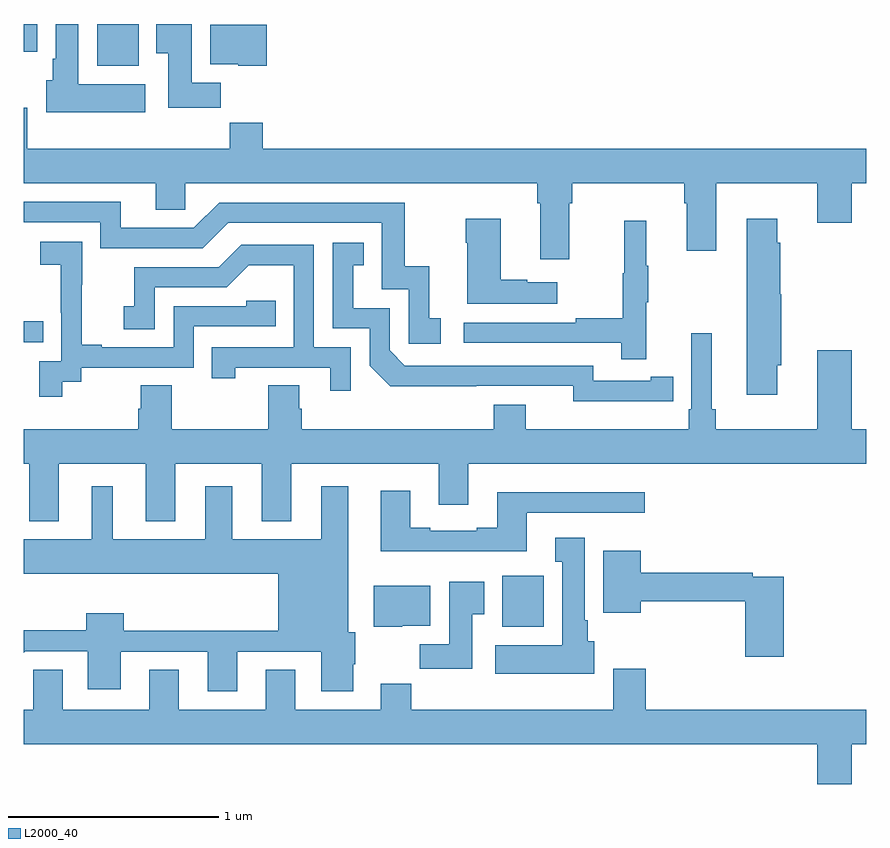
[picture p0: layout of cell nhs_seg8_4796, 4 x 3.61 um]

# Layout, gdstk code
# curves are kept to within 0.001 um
import gdstk
lib = gdstk.Library(unit=1e-6, precision=1e-09)
def R(c, l, rs):  # rectangles x0, y0, x1, y1
    for r in rs: c.add(gdstk.rectangle(r[:2], r[2:], *l))
def P(c, l, *ps):  # polygons
    for p in ps: c.add(gdstk.Polygon(p, *l))
L2000_40 = (2000, 40)

nhs_seg8_4796 = lib.new_cell('nhs_seg8_4796')
R(nhs_seg8_4796, L2000_40, [(403.271,1137.038,403.468,1137.28), (401,1138.389,401.093,1138.49), (401.349,1139.702,401.545,1139.9), (401,1139.768,401.065,1139.9)])
P(nhs_seg8_4796, L2000_40, [(401.936,1139.62),(401.797,1139.62),(401.797,1139.9),(401.63,1139.9),(401.63,1139.761),(401.687,1139.761),(401.687,1139.502),(401.936,1139.502)],
  [(401.578,1139.614),(401.26,1139.614),(401.26,1139.9),(401.153,1139.9),(401.153,1139.734),(401.138,1139.734),(401.138,1139.634),(401.108,1139.634),(401.108,1139.48),(401.578,1139.48)],
  [(402.154,1139.896),(401.885,1139.896),(401.885,1139.708),(402.018,1139.708),(402.018,1139.702),(402.154,1139.702)],
  [(403.591,1139.048),(403.604,1139.048),(403.604,1139.144),(404.135,1139.144),(404.135,1139.048),(404.147,1139.048),(404.147,1138.824),(404.287,1138.824),(404.287,1139.144),(404.768,1139.144),(404.768,1138.956),(404.932,1138.956),(404.932,1139.144),(405,1139.144),(405,1139.308),(402.134,1139.308),(402.134,1139.432),(401.977,1139.432),(401.977,1139.308),(401.017,1139.308),(401.017,1139.503),(401,1139.503),(401,1139.144),(401.627,1139.144),(401.627,1139.017),(401.766,1139.017),(401.766,1139.144),(403.439,1139.144),(403.439,1139.048),(403.451,1139.048),(403.451,1138.782),(403.591,1138.782)],
  [(402.979,1138.503),(402.926,1138.503),(402.926,1138.75),(402.808,1138.75),(402.808,1139.052),(401.928,1139.052),(401.808,1138.932),(401.461,1138.932),(401.461,1139.055),(401,1139.055),(401,1138.959),(401.364,1138.959),(401.364,1138.836),(401.85,1138.836),(401.97,1138.956),(402.699,1138.956),(402.699,1138.641),(402.828,1138.641),(402.828,1138.383),(402.979,1138.383)],
  [(403.534,1138.675),(403.391,1138.675),(403.391,1138.685),(403.264,1138.685),(403.264,1138.975),(403.099,1138.975),(403.099,1138.862),(403.106,1138.862),(403.106,1138.571),(403.534,1138.571)],
  [(404.578,1138.281),(404.596,1138.281),(404.596,1138.617),(404.591,1138.617),(404.591,1138.862),(404.578,1138.862),(404.578,1138.975),(404.432,1138.975),(404.432,1138.14),(404.578,1138.14)],
  [(403.955,1138.579),(403.966,1138.579),(403.966,1138.753),(403.955,1138.753),(403.955,1138.966),(403.852,1138.966),(403.852,1138.716),(403.845,1138.716),(403.845,1138.502),(403.621,1138.502),(403.621,1138.482),(403.089,1138.482),(403.089,1138.386),(403.837,1138.386),(403.837,1138.308),(403.955,1138.308)],
  [(401.182,1138.201),(401.274,1138.201),(401.274,1138.269),(401.808,1138.269),(401.808,1138.464),(402.197,1138.464),(402.197,1138.587),(402.057,1138.587),(402.057,1138.56),(401.712,1138.56),(401.712,1138.365),(401.371,1138.365),(401.371,1138.378),(401.276,1138.378),(401.276,1138.661),(401.277,1138.661),(401.277,1138.867),(401.079,1138.867),(401.079,1138.757),(401.177,1138.757),(401.177,1138.529),(401.178,1138.529),(401.178,1138.299),(401.073,1138.299),(401.073,1138.131),(401.182,1138.131)],
  [(403.976,1138.11),(404.084,1138.11),(404.084,1138.226),(403.976,1138.226),(403.976,1138.206),(403.704,1138.206),(403.704,1138.278),(402.81,1138.278),(402.738,1138.35),(402.738,1138.551),(402.565,1138.551),(402.565,1138.755),(402.614,1138.755),(402.614,1138.861),(402.468,1138.861),(402.468,1138.455),(402.642,1138.455),(402.642,1138.278),(402.74,1138.181),(403.608,1138.182),(403.608,1138.109)],
  [(402.552,1138.365),(402.378,1138.365),(402.378,1138.851),(402.032,1138.851),(401.927,1138.746),(401.524,1138.746),(401.524,1138.561),(401.475,1138.561),(401.475,1138.452),(401.622,1138.452),(401.622,1138.65),(401.964,1138.65),(402.068,1138.754),(402.282,1138.754),(402.282,1138.365),(401.893,1138.365),(401.893,1138.218),(402.004,1138.218),(402.004,1138.269),(402.455,1138.269),(402.455,1138.158),(402.552,1138.158)],
  [(401.167,1137.812),(401.579,1137.812),(401.579,1137.539),(401.719,1137.539),(401.719,1137.812),(402.131,1137.812),(402.131,1137.539),(402.271,1137.539),(402.271,1137.812),(402.971,1137.812),(402.971,1137.618),(403.111,1137.618),(403.111,1137.812),(405,1137.812),(405,1137.976),(404.932,1137.976),(404.932,1138.351),(404.768,1138.351),(404.768,1137.976),(404.285,1137.976),(404.285,1138.072),(404.266,1138.072),(404.266,1138.432),(404.169,1138.432),(404.169,1138.072),(404.156,1138.072),(404.156,1137.976),(403.384,1137.976),(403.384,1138.093),(403.232,1138.093),(403.232,1137.976),(402.32,1137.976),(402.32,1138.074),(402.307,1138.074),(402.307,1138.184),(402.16,1138.184),(402.16,1137.976),(401.703,1137.976),(401.703,1138.184),(401.555,1138.184),(401.555,1138.074),(401.543,1138.074),(401.543,1137.976),(401,1137.976),(401,1137.812),(401.027,1137.812),(401.027,1137.539),(401.167,1137.539)],
  [(402.013,1136.919),(402.413,1136.919),(402.413,1136.733),(402.565,1136.733),(402.565,1136.86),(402.573,1136.86),(402.573,1137.012),(402.541,1137.012),(402.541,1137.706),(402.413,1137.706),(402.413,1137.454),(401.989,1137.454),(401.989,1137.706),(401.861,1137.706),(401.861,1137.454),(401.422,1137.454),(401.422,1137.706),(401.324,1137.706),(401.324,1137.454),(401,1137.454),(401,1137.29),(402.209,1137.29),(402.209,1137.02),(401.474,1137.02),(401.474,1137.103),(401.296,1137.103),(401.296,1137.023),(401,1137.023),(401,1136.915),(401.007,1136.922),(401.303,1136.922),(401.303,1136.741),(401.461,1136.741),(401.461,1136.919),(401.873,1136.919),(401.873,1136.733),(402.013,1136.733)],
  [(403.387,1137.579),(403.948,1137.579),(403.948,1137.676),(403.247,1137.676),(403.247,1137.508),(403.151,1137.508),(403.151,1137.495),(402.931,1137.495),(402.931,1137.508),(402.835,1137.508),(402.835,1137.685),(402.695,1137.685),(402.695,1137.398),(403.387,1137.398)],
  [(403.708,1136.97),(403.678,1136.97),(403.678,1137.07),(403.663,1137.07),(403.663,1137.46),(403.523,1137.46),(403.523,1137.347),(403.556,1137.347),(403.556,1136.95),(403.239,1136.95),(403.239,1136.816),(403.708,1136.816)],
  [(404.609,1137.276),(404.462,1137.276),(404.462,1137.296),(403.93,1137.296),(403.93,1137.4),(403.751,1137.4),(403.751,1137.104),(403.93,1137.104),(403.93,1137.16),(404.426,1137.16),(404.426,1136.895),(404.609,1136.895)],
  [(403.129,1137.097),(403.186,1137.097),(403.186,1137.253),(403.019,1137.253),(403.019,1136.956),(402.88,1136.956),(402.88,1136.838),(403.129,1136.838)],
  [(402.798,1137.044),(402.931,1137.044),(402.931,1137.232),(402.662,1137.232),(402.662,1137.038),(402.798,1137.038)],
  [(404.932,1136.48),(405,1136.48),(405,1136.644),(403.952,1136.644),(403.952,1136.839),(403.799,1136.839),(403.799,1136.644),(402.839,1136.644),(402.839,1136.768),(402.695,1136.768),(402.695,1136.644),(402.289,1136.644),(402.289,1136.834),(402.149,1136.834),(402.149,1136.644),(401.737,1136.644),(401.737,1136.834),(401.597,1136.834),(401.597,1136.644),(401.185,1136.644),(401.185,1136.834),(401.046,1136.834),(401.046,1136.644),(401,1136.644),(401,1136.48),(404.768,1136.48),(404.768,1136.292),(404.932,1136.292)])

lib.write_gds('nhs_seg8_4796.gds')
